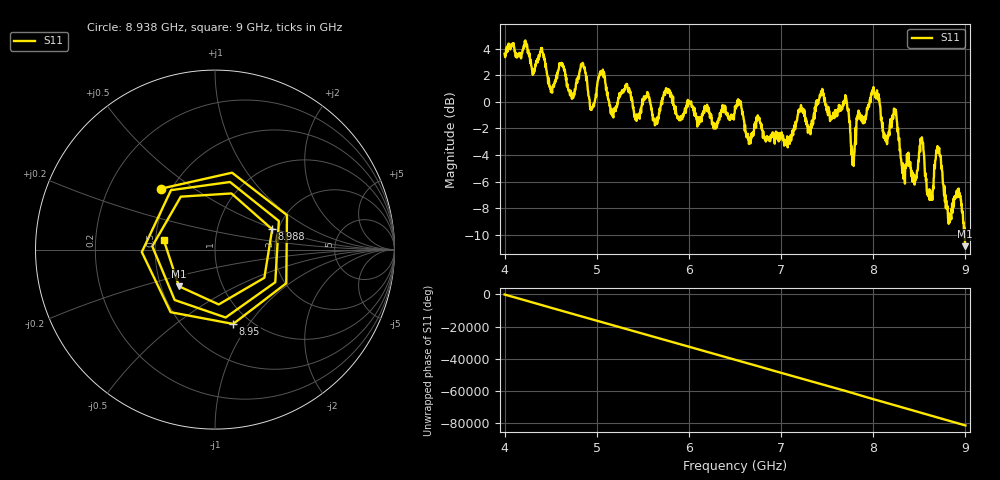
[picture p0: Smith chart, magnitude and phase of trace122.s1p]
! Created with skrf 1.8.0 (http://scikit-rf.org).
# Hz S RI R 50.0
!freq ReS11 ImS11
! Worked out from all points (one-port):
!   1601 points, 4 GHz to 9 GHz, reference 50 ohm
!   lowest |S11| = -10.9 dB at 8.997 GHz (marker M1), VSWR 1.80, Z = 30.9 - j13.8 ohm
!   |S11| at or under -10 dB: 8.991123 GHz to end of sweep
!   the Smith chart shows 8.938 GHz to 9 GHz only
!   S11 on the Smith chart (normalised r, x): 8.938 GHz: 0.44, +0.38; 8.95 GHz: 0.84, -0.85; 8.988 GHz: 1.86, +0.47; 9 GHz: 0.55, +0.06
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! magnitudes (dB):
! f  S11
! 4 GHz  3.6
! 4.409 GHz  3.7
! 4.509 GHz  0.8
! 4.625 GHz  2.7
! 4.734 GHz  0.6
! 4.853 GHz  2.8
! 4.95 GHz  -0.5
! 5.047 GHz  2.1
! 5.162 GHz  -0.8
! 5.25 GHz  0.4
! 5.875 GHz  -1.2
! 6.5 GHz  -0.3
! 7.125 GHz  -2.5
! 7.441 GHz  0.8
! 7.75 GHz  -2.3
! 7.788 GHz  -4.8
! 8.016 GHz  0.6
! 8.375 GHz  -4.6
! 8.45 GHz  -6.2
! 8.528 GHz  -2.7
! 8.619 GHz  -6.9
! 8.706 GHz  -3.8
! 8.822 GHz  -8.4
! 8.938 GHz  -6.9
! 8.95 GHz  -7.4
! 8.988 GHz  -9.4
! 8.997 GHz  -10.9
! 9 GHz  -10.8
